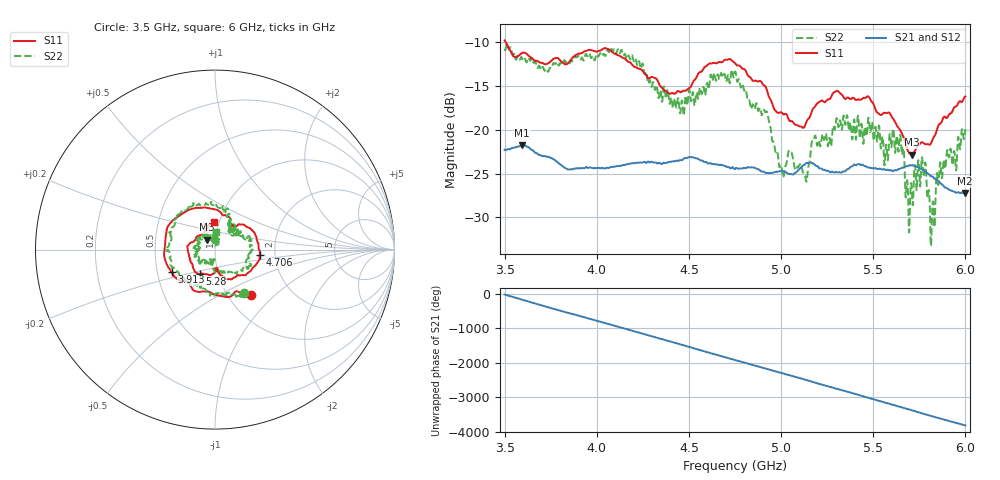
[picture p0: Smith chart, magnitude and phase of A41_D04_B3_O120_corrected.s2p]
! Created with skrf 1.9.0 (http://scikit-rf.org).
# Hz S RI R 50.0
!freq ReS11 ImS11 ReS21 ImS21 ReS12 ImS12 ReS22 ImS22
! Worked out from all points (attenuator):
!   1601 points, 3.5 GHz to 6 GHz, reference 50 ohm
!   highest |S21| = -21.78 dB at 3.595 GHz (marker M1); lowest = -27.3 dB at 5.998 GHz (marker M2)
!   lowest |S11| = -22.8 dB at 5.709 GHz (marker M3), VSWR 1.16, Z = 45.4 + j5.11 ohm
!   |S11| at or under -10 dB: 3.506 GHz to end of sweep
!   |S22| runs from -33.3 to -10.2 dB; largest |S21 - S12| = 0.00095
!   S11 on the Smith chart (normalised r, x): 3.5 GHz: 1.26, -0.72; 3.913 GHz: 0.59, -0.16; 4.706 GHz: 1.66, -0.11; 5.28 GHz: 0.81, -0.23; 6 GHz: 0.94, +0.30
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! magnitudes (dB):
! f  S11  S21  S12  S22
! 3.5 GHz  -9.8  -22.3  -22.2  -10.8
! 3.595 GHz  -11.2  -21.8  -21.8  -11.9
! 3.913 GHz  -11.3  -24.4  -24.3  -12.0
! 3.917 GHz  -11.3  -24.4  -24.3  -11.8
! 4.125 GHz  -11.6  -24.1  -24.1  -11.3
! 4.334 GHz  -14.6  -23.8  -23.7  -16.4
! 4.706 GHz  -12.0  -24.2  -24.1  -14.3
! 4.75 GHz  -12.4  -24.5  -24.4  -13.4
! 4.919 GHz  -15.2  -24.9  -24.9  -17.9
! 5.003 GHz  -18.1  -24.8  -24.7  -24.3
! 5.133 GHz  -19.4  -23.9  -23.8  -25.6
! 5.167 GHz  -17.9  -23.8  -23.7  -21.4
! 5.28 GHz  -15.9  -24.8  -24.7  -20.0
! 5.584 GHz  -18.0  -24.6  -24.5  -21.7
! 5.655 GHz  -20.4  -24.4  -24.3  -22.6
! 5.686 GHz  -22.3  -24.2  -24.1  -26.1
! 5.709 GHz  -22.8  -24.0  -24.0  -26.9
! 5.773 GHz  -21.5  -24.7  -24.6  -25.3
! 5.822 GHz  -21.1  -25.3  -25.3  -28.4
! 5.855 GHz  -19.4  -25.9  -25.8  -26.1
! 5.998 GHz  -16.2  -27.3  -27.2  -20.1
! 6 GHz  -16.2  -27.2  -27.2  -19.9
